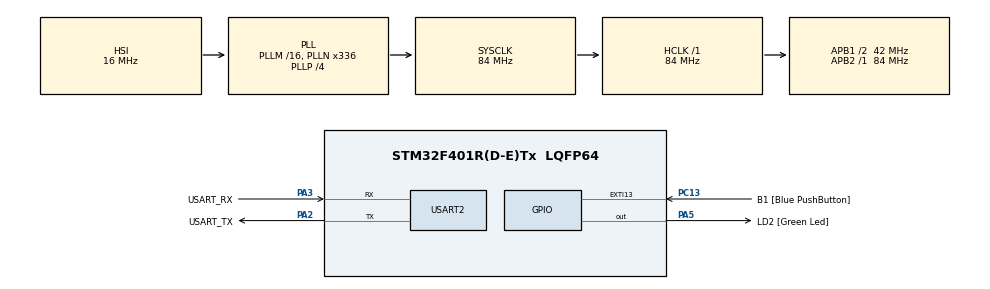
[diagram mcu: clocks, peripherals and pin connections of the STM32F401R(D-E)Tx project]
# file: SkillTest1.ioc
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Mcu.Family=STM32F4
Mcu.Name=STM32F401R(D-E)Tx
Mcu.Package=LQFP64
NVIC.PriorityGroup=NVIC_PRIORITYGROUP_0
PA13.GPIO_Label=TMS
PA13.Mode=Serial_Wire
PA13.Signal=SYS_JTMS-SWDIO
PA14.GPIO_Label=TCK
PA14.Mode=Serial_Wire
PA14.Signal=SYS_JTCK-SWCLK
PA2.GPIO_Label=USART_TX
PA2.GPIO_Mode=GPIO_MODE_AF_PP
PA2.GPIO_PuPd=GPIO_NOPULL
PA2.GPIO_Speed=GPIO_SPEED_FREQ_LOW
PA2.Mode=Asynchronous
PA2.Signal=USART2_TX
PA3.GPIO_Label=USART_RX
PA3.GPIO_Mode=GPIO_MODE_AF_PP
PA3.GPIO_PuPd=GPIO_NOPULL
PA3.GPIO_Speed=GPIO_SPEED_FREQ_LOW
PA3.Mode=Asynchronous
PA3.Signal=USART2_RX
PA5.GPIO_Label=LD2 [Green Led]
PA5.GPIO_Mode=GPIO_MODE_OUTPUT_PP
PA5.GPIO_PuPd=GPIO_NOPULL
PA5.GPIO_Speed=GPIO_SPEED_FREQ_LOW
PA5.Signal=GPIO_Output
PB3.GPIO_Label=SWO
PB3.Signal=SYS_JTDO-SWO
PC13-ANTI_TAMP.GPIO_Label=B1 [Blue PushButton]
PC13-ANTI_TAMP.GPIO_ModeDefaultEXTI=GPIO_MODE_IT_FALLING
PC13-ANTI_TAMP.GPIO_PuPd=GPIO_NOPULL
PC13-ANTI_TAMP.Signal=GPXTI13
PC14-OSC32_IN.Mode=LSE-External-Oscillator
PC14-OSC32_IN.Signal=RCC_OSC32_IN
PC15-OSC32_OUT.Mode=LSE-External-Oscillator
PC15-OSC32_OUT.Signal=RCC_OSC32_OUT
PH0\ -\ OSC_IN.Mode=HSE-External-Clock-Source
PH0\ -\ OSC_IN.Signal=RCC_OSC_IN
PH1\ -\ OSC_OUT.Mode=HSE-External-Clock-Source
PH1\ -\ OSC_OUT.Signal=RCC_OSC_OUT
ProjectManager.HeapSize=0x200
ProjectManager.StackSize=0x400
ProjectManager.TargetToolchain=STM32CubeIDE
RCC.48MHZClocksFreq_Value=48000000
RCC.AHBFreq_Value=84000000
RCC.APB1CLKDivider=RCC_HCLK_DIV2
RCC.APB1Freq_Value=42000000
RCC.APB1TimFreq_Value=84000000
RCC.APB2Freq_Value=84000000
RCC.APB2TimFreq_Value=84000000
RCC.CortexFreq_Value=84000000
RCC.HCLKFreq_Value=84000000
RCC.HSE_VALUE=8000000
RCC.HSI_VALUE=16000000
RCC.PLLN=336
RCC.PLLP=RCC_PLLP_DIV4
RCC.PLLQ=7
RCC.SYSCLKFreq_VALUE=84000000
RCC.SYSCLKSource=RCC_SYSCLKSOURCE_PLLCLK
RCC.VCOOutputFreq_Value=336000000
USART2.VirtualMode=VM_ASYNC
board=NUCLEO-F401RE

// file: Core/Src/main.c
/* USER CODE BEGIN Header */
/**
  ******************************************************************************
  * @file           : main.c
  * @brief          : Main program body
  ******************************************************************************
  * @attention
  *
  * Copyright (c) 2024 STMicroelectronics.
  * All rights reserved.
  *
  * This software is licensed under terms that can be found in the LICENSE file
  * in the root directory of this software component.
  * If no LICENSE file comes with this software, it is provided AS-IS.
  *
  ******************************************************************************
  */
/* USER CODE END Header */
#include "main.h"

UART_HandleTypeDef huart2;

void SystemClock_Config(void);
static void MX_GPIO_Init(void);
static void MX_USART2_UART_Init(void);

int main(void)
{

  /* MCU Configuration--------------------------------------------------------*/

  /* Reset of all peripherals, Initializes the Flash interface and the Systick. */
  HAL_Init();

  /* Configure the system clock */
  SystemClock_Config();

  /* Initialize all configured peripherals */
  MX_GPIO_Init();
  MX_USART2_UART_Init();
  /* USER CODE BEGIN 2 */

  int state = 1;
  char c = 'D';
  int cnt = 0;
  int pressed = 0;
  /* USER CODE END 2 */

  /* Infinite loop */
  /* USER CODE BEGIN WHILE */
  while (1)
  {
	  if(HAL_UART_Receive(&huart2, &c, 1, 50) == HAL_OK){
		  if(c == 'S'){
			  HAL_UART_Transmit(&huart2, &c, 1, 100);
			  state = 2;
		  }
		  else if(c == 'R'){
			  	  char buffer[4];
			  	  sprintf(buffer, "%d", cnt);
			  	  HAL_UART_Transmit(&huart2, buffer, 4, 100);

				  char buffer2 = 'R';
				  HAL_UART_Transmit(&huart2, &buffer2, 1, 100);
			  cnt = 0;
			  state = 1;
		  }
	  }

	  if(state == 1){
		  HAL_GPIO_WritePin(GPIOA, GPIO_PIN_5, 1);
		  HAL_Delay(20);
		  HAL_GPIO_WritePin(GPIOA, GPIO_PIN_5, 0);
		  HAL_Delay(80);
	  }
	  else if(state == 2){
		  HAL_GPIO_WritePin(GPIOA, GPIO_PIN_5, 1);
		  if(HAL_GPIO_ReadPin(GPIOC, GPIO_PIN_13) == GPIO_PIN_RESET){
		  		  cnt += 1;
		  //		  c = 'X';
		  //		  HAL_UART_Transmit(&huart2, &c, 1, 1000);
		  		  while(HAL_GPIO_ReadPin(GPIOC, GPIO_PIN_13) == GPIO_PIN_RESET){}
		  }
	  }
    /* USER CODE END WHILE */

  }
}

void SystemClock_Config(void)
{
  RCC_OscInitTypeDef RCC_OscInitStruct = {0};
  RCC_ClkInitTypeDef RCC_ClkInitStruct = {0};

  /** Configure the main internal regulator output voltage
  */
  __HAL_RCC_PWR_CLK_ENABLE();
  __HAL_PWR_VOLTAGESCALING_CONFIG(PWR_REGULATOR_VOLTAGE_SCALE2);

  /** Initializes the RCC Oscillators according to the specified parameters
  * in the RCC_OscInitTypeDef structure.
  */
  RCC_OscInitStruct.OscillatorType = RCC_OSCILLATORTYPE_HSI;
  RCC_OscInitStruct.HSIState = RCC_HSI_ON;
  RCC_OscInitStruct.HSICalibrationValue = RCC_HSICALIBRATION_DEFAULT;
  RCC_OscInitStruct.PLL.PLLState = RCC_PLL_ON;
  RCC_OscInitStruct.PLL.PLLSource = RCC_PLLSOURCE_HSI;
  RCC_OscInitStruct.PLL.PLLM = 16;
  RCC_OscInitStruct.PLL.PLLN = 336;
  RCC_OscInitStruct.PLL.PLLP = RCC_PLLP_DIV4;
  RCC_OscInitStruct.PLL.PLLQ = 7;
  if (HAL_RCC_OscConfig(&RCC_OscInitStruct) != HAL_OK)
  {
    Error_Handler();
  }

  /** Initializes the CPU, AHB and APB buses clocks
  */
  RCC_ClkInitStruct.ClockType = RCC_CLOCKTYPE_HCLK|RCC_CLOCKTYPE_SYSCLK
                              |RCC_CLOCKTYPE_PCLK1|RCC_CLOCKTYPE_PCLK2;
  RCC_ClkInitStruct.SYSCLKSource = RCC_SYSCLKSOURCE_PLLCLK;
  RCC_ClkInitStruct.AHBCLKDivider = RCC_SYSCLK_DIV1;
  RCC_ClkInitStruct.APB1CLKDivider = RCC_HCLK_DIV2;
  RCC_ClkInitStruct.APB2CLKDivider = RCC_HCLK_DIV1;

  if (HAL_RCC_ClockConfig(&RCC_ClkInitStruct, FLASH_LATENCY_2) != HAL_OK)
  {
    Error_Handler();
  }
}

static void MX_USART2_UART_Init(void)
{

  huart2.Instance = USART2;
  huart2.Init.BaudRate = 115200;
  huart2.Init.WordLength = UART_WORDLENGTH_8B;
  huart2.Init.StopBits = UART_STOPBITS_1;
  huart2.Init.Parity = UART_PARITY_NONE;
  huart2.Init.Mode = UART_MODE_TX_RX;
  huart2.Init.HwFlowCtl = UART_HWCONTROL_NONE;
  huart2.Init.OverSampling = UART_OVERSAMPLING_16;
  if (HAL_UART_Init(&huart2) != HAL_OK)
  {
    Error_Handler();
  }

}

static void MX_GPIO_Init(void)
{
  GPIO_InitTypeDef GPIO_InitStruct = {0};

  /* GPIO Ports Clock Enable */
  __HAL_RCC_GPIOC_CLK_ENABLE();
  __HAL_RCC_GPIOH_CLK_ENABLE();
  __HAL_RCC_GPIOA_CLK_ENABLE();
  __HAL_RCC_GPIOB_CLK_ENABLE();

  /*Configure GPIO pin Output Level */
  HAL_GPIO_WritePin(LD2_GPIO_Port, LD2_Pin, GPIO_PIN_RESET);

  /*Configure GPIO pin : B1_Pin */
  GPIO_InitStruct.Pin = B1_Pin;
  GPIO_InitStruct.Mode = GPIO_MODE_IT_FALLING;
  GPIO_InitStruct.Pull = GPIO_NOPULL;
  HAL_GPIO_Init(B1_GPIO_Port, &GPIO_InitStruct);

  /*Configure GPIO pin : LD2_Pin */
  GPIO_InitStruct.Pin = LD2_Pin;
  GPIO_InitStruct.Mode = GPIO_MODE_OUTPUT_PP;
  GPIO_InitStruct.Pull = GPIO_NOPULL;
  GPIO_InitStruct.Speed = GPIO_SPEED_FREQ_LOW;
  HAL_GPIO_Init(LD2_GPIO_Port, &GPIO_InitStruct);

}

void Error_Handler(void)
{
  __disable_irq();
  while (1)
  {
  }
}
